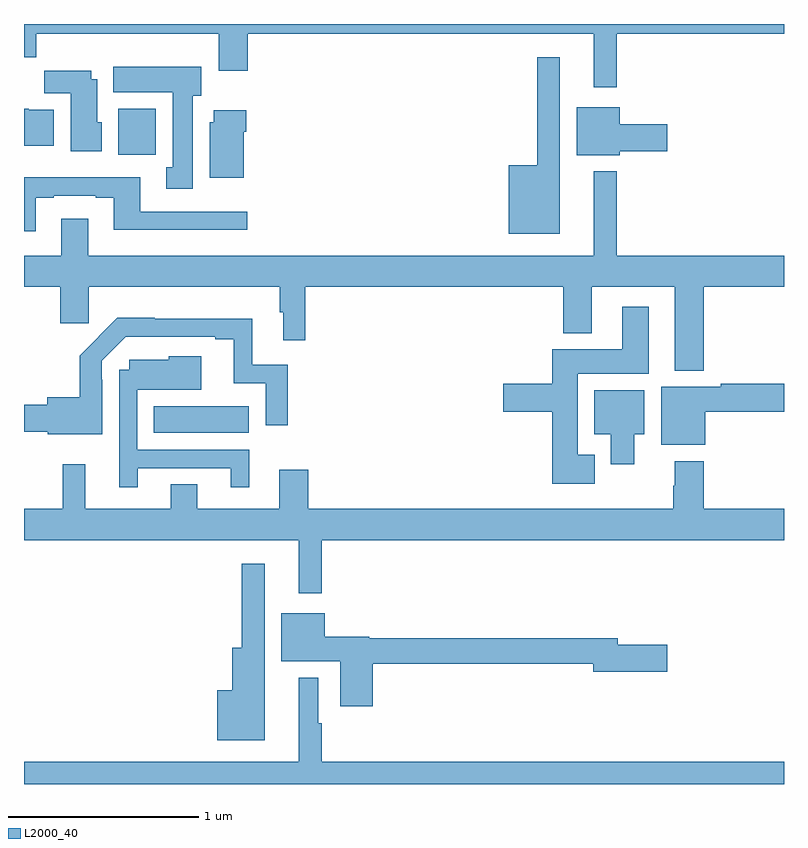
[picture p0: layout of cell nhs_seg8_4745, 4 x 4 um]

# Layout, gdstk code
import gdstk
lib = gdstk.Library(unit=1e-6, precision=1e-09)
def R(c, l, rs):  # rectangles x0, y0, x1, y1
    for r in rs: c.add(gdstk.rectangle(r[:2], r[2:], *l))
def P(c, l, *ps):  # polygons
    for p in ps: c.add(gdstk.Polygon(p, *l))
L2000_40 = (2000, 40)

nhs_seg8_4745 = lib.new_cell('nhs_seg8_4745')
R(nhs_seg8_4745, L2000_40, [(399.682,1099.748,400.183,1099.888), (399.497,1101.212,399.694,1101.454)])
P(nhs_seg8_4745, L2000_40, [(402.121,1101.848),(403,1101.848),(403,1101.9),(399,1101.9),(399,1101.724),(399.065,1101.724),(399.065,1101.848),(400.025,1101.848),(400.025,1101.654),(400.178,1101.654),(400.178,1101.848),(401.999,1101.848),(401.999,1101.567),(402.121,1101.567)],
  [(401.821,1101.724),(401.7,1101.724),(401.7,1101.157),(401.552,1101.157),(401.552,1100.795),(401.821,1100.795)],
  [(399.889,1101.522),(399.934,1101.522),(399.934,1101.676),(399.47,1101.676),(399.47,1101.542),(399.782,1101.542),(399.782,1101.146),(399.749,1101.146),(399.749,1101.033),(399.889,1101.033)],
  [(399.409,1101.384),(399.385,1101.384),(399.385,1101.61),(399.355,1101.61),(399.355,1101.655),(399.106,1101.655),(399.106,1101.536),(399.245,1101.536),(399.245,1101.23),(399.409,1101.23)],
  [(402.136,1101.23),(402.385,1101.23),(402.385,1101.372),(402.136,1101.372),(402.136,1101.463),(401.909,1101.463),(401.909,1101.209),(402.136,1101.209)],
  [(399.157,1101.448),(399.024,1101.448),(399.024,1101.454),(399,1101.454),(399,1101.26),(399.157,1101.26)],
  [(400.156,1101.332),(400.169,1101.332),(400.169,1101.445),(399.998,1101.445),(399.998,1101.384),(399.977,1101.384),(399.977,1101.092),(400.156,1101.092)],
  [(402.578,1100.516),(403,1100.516),(403,1100.68),(402.121,1100.68),(402.121,1101.124),(401.999,1101.124),(401.999,1100.68),(399.337,1100.68),(399.337,1100.875),(399.197,1100.875),(399.197,1100.68),(399,1100.68),(399,1100.516),(399.191,1100.516),(399.191,1100.325),(399.341,1100.325),(399.341,1100.516),(400.345,1100.516),(400.345,1100.384),(400.364,1100.384),(400.364,1100.235),(400.481,1100.235),(400.481,1100.516),(401.837,1100.516),(401.837,1100.273),(401.989,1100.273),(401.989,1100.516),(402.425,1100.516),(402.425,1100.075),(402.578,1100.075)],
  [(399.061,1100.985),(399.157,1100.985),(399.157,1100.997),(399.377,1100.997),(399.377,1100.985),(399.473,1100.985),(399.473,1100.816),(400.174,1100.816),(400.174,1100.913),(399.613,1100.913),(399.613,1101.094),(399,1101.094),(399,1100.808),(399.061,1100.808)],
  [(402.004,1099.633),(401.914,1099.633),(401.914,1100.06),(402.289,1100.06),(402.289,1100.413),(402.149,1100.413),(402.149,1100.188),(401.78,1100.188),(401.78,1100.006),(401.523,1100.006),(401.523,1099.859),(401.78,1099.859),(401.78,1099.481),(402.004,1099.481)],
  [(399.411,1100.027),(399.408,1100.027),(399.408,1100.127),(399.536,1100.255),(399.637,1100.255),(399.637,1100.253),(400.007,1100.253),(400.007,1100.241),(400.103,1100.241),(400.103,1100.01),(400.272,1100.01),(400.272,1099.788),(400.388,1099.788),(400.388,1100.106),(400.201,1100.106),(400.201,1100.35),(399.689,1100.35),(399.689,1100.353),(399.49,1100.353),(399.293,1100.155),(399.293,1099.936),(399.122,1099.936),(399.122,1099.895),(399,1099.895),(399,1099.753),(399.126,1099.753),(399.126,1099.742),(399.411,1099.742)],
  [(399.598,1099.563),(400.088,1099.563),(400.088,1099.461),(400.186,1099.461),(400.186,1099.659),(399.597,1099.659),(399.597,1099.976),(399.934,1099.976),(399.934,1100.152),(399.762,1100.152),(399.762,1100.134),(399.555,1100.134),(399.555,1100.079),(399.501,1100.079),(399.501,1099.461),(399.598,1099.461)],
  [(402.586,1099.859),(403,1099.859),(403,1100.006),(402.666,1100.006),(402.666,1099.99),(402.353,1099.99),(402.353,1099.685),(402.586,1099.685)],
  [(402.211,1099.742),(402.265,1099.742),(402.265,1099.972),(402.002,1099.972),(402.002,1099.742),(402.089,1099.742),(402.089,1099.584),(402.211,1099.584)],
  [(400.567,1099.184),(403,1099.184),(403,1099.348),(402.578,1099.348),(402.578,1099.6),(402.425,1099.6),(402.425,1099.469),(402.418,1099.469),(402.418,1099.348),(400.496,1099.348),(400.496,1099.555),(400.343,1099.555),(400.343,1099.348),(399.913,1099.348),(399.913,1099.478),(399.773,1099.478),(399.773,1099.348),(399.323,1099.348),(399.323,1099.582),(399.205,1099.582),(399.205,1099.348),(399,1099.348),(399,1099.184),(400.445,1099.184),(400.445,1098.903),(400.567,1098.903)],
  [(400.267,1099.06),(400.146,1099.06),(400.146,1098.616),(400.097,1098.616),(400.097,1098.394),(400.016,1098.394),(400.016,1098.131),(400.267,1098.131)],
  [(400.835,1098.532),(401.996,1098.532),(401.996,1098.49),(402.385,1098.49),(402.385,1098.632),(402.124,1098.632),(402.124,1098.668),(400.818,1098.668),(400.818,1098.676),(400.582,1098.676),(400.582,1098.799),(400.355,1098.799),(400.355,1098.545),(400.664,1098.545),(400.664,1098.309),(400.835,1098.309)],
  [(403,1098.016),(400.567,1098.016),(400.567,1098.221),(400.549,1098.221),(400.549,1098.46),(400.445,1098.46),(400.445,1098.016),(399,1098.016),(399,1097.9),(403,1097.9)])

lib.write_gds('nhs_seg8_4745.gds')
